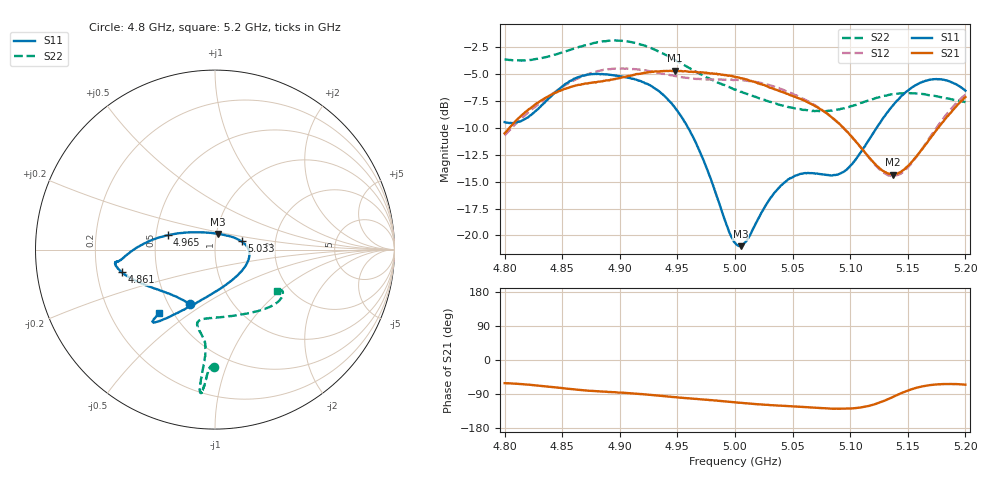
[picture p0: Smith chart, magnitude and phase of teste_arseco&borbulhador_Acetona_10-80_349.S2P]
! Network Analyzer HP8722D
! Hewlett-Packard
! Data name: Linha & Wilkinson
! Saver's name: Rodrigo Anjos
! Comments: Teste da utilização de aquisição
! continua pelo VNA HP8722D
! Time and date: 17/4/2025 17:16
!  Frequency  S11  S21  S12  S22
# HZ  S  MA R 50
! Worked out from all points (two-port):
!   401 points, 4.8 GHz to 5.2 GHz, reference 50 ohm
!   highest |S21| = -4.71 dB at 4.948 GHz (marker M1); lowest = -14.3 dB at 5.137 GHz (marker M2)
!   |S21| within 3 dB of the highest: 4.828 GHz to 5.065 GHz (236.3 MHz wide, 4.78 % of centre); 5.19461 GHz to end of sweep
!   lowest |S11| = -21.0 dB at 5.005 GHz (marker M3), VSWR 1.20, Z = 51 + j8.99 ohm
!   |S11| at or under -10 dB: 4.959 GHz to 5.123 GHz (163.6 MHz wide, 3.25 % of centre)
!   |S22| runs from -8.5 to -1.9 dB; largest |S21 - S12| = 0.87
!   S11 on the Smith chart (normalised r, x): 4.8 GHz: 0.64, -0.44; 4.861 GHz: 0.31, -0.11; 4.965 GHz: 0.58, +0.10; 5.033 GHz: 1.34, +0.13; 5.2 GHz: 0.42, -0.38
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4.8e9  0.3357 -114.4  0.2978 -61.1  0.2911 -175.4  0.6568 -90.4
4.819e9  0.3508 -134.6  0.377 -64.6  0.3663 -174.3  0.6518 -92.0
4.861e9  0.5352 -166.3  0.4949 -77.7  0.5276 -177.5  0.7376 -94.3
4.867e9  0.5498 -168.7  0.5036 -79.5  0.5452 -178.6  0.755 -94.4
4.899e9  0.5486 -173.0  0.5359 -86.1  0.5946 174.6  0.8015 -95.8
4.934e9  0.4672 -178.8  0.577 -94.3  0.5702 171.2  0.7123 -96.1
4.948e9  0.3912 174.7  0.5813 -98.3  0.5496 171.6  0.6522 -95.6
4.965e9  0.2764 163.2  0.5762 -102.6  0.5332 173.2  0.579 -95.3
5e9  0.09247 97.4  0.5438 -111.7  0.5285 175.6  0.4753 -99.3
5.005e9  0.08922 78.3  0.5359 -112.9  0.5251 175.4  0.4638 -100.4
5.012e9  0.09827 54.8  0.5246 -114.8  0.5205 175.5  0.4505 -101.9
5.033e9  0.1549 17.4  0.4805 -119.4  0.4925 174.1  0.4143 -103.4
5.048e9  0.1848 2.2  0.448 -121.9  0.4593 173.7  0.3936 -100.0
5.067e9  0.1947 -18.0  0.4054 -125.3  0.4094 173.2  0.3777 -89.9
5.086e9  0.191 -48.3  0.3469 -128.4  0.346 173.6  0.3816 -75.6
5.097e9  0.2021 -70.4  0.304 -128.5  0.3054 174.8  0.3927 -66.6
5.122e9  0.3107 -108.7  0.2138 -116.0  0.2114 -170.8  0.4336 -49.3
5.134e9  0.3828 -118.2  0.1931 -101.7  0.1897 -154.6  0.4496 -43.1
5.137e9  0.4007 -119.9  0.1919 -97.5  0.1889 -150.0  0.4523 -41.8
5.15e9  0.4702 -125.5  0.2095 -80.8  0.2062 -130.5  0.4577 -36.9
5.17e9  0.5289 -130.0  0.2845 -66.0  0.2895 -112.1  0.4475 -32.3
5.2e9  0.4697 -131.3  0.4389 -65.1  0.4508 -107.2  0.4153 -33.8
